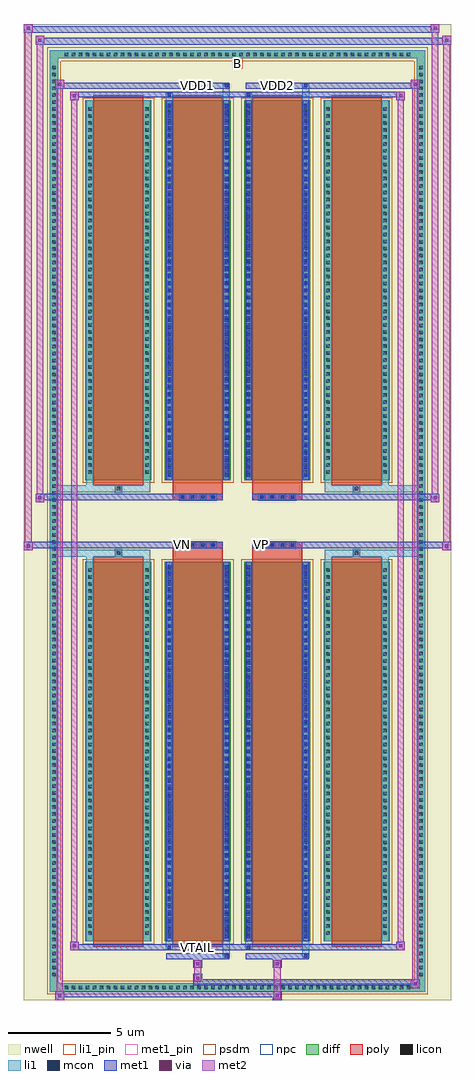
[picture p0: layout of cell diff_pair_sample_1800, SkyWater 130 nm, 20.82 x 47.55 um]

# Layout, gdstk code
import gdstk
lib = gdstk.Library(unit=1e-6, precision=5e-09)
def R(c, l, rs):  # rectangles x0, y0, x1, y1
    for r in rs: c.add(gdstk.rectangle(r[:2], r[2:], *l))
def A(c, l, x, y, w, h, nx, ny, dx, dy):  # array of equal rectangles
    R(c, l, [(x+i*dx, y+j*dy, x+i*dx+w, y+j*dy+h) for i in range(nx) for j in range(ny)])
def P(c, l, *ps):  # polygons
    for p in ps: c.add(gdstk.Polygon(p, *l))
nwell = (64, 20)
diff = (65, 20)
poly = (66, 20)
licon = (66, 44)
li1_pin = (67, 16)
li1 = (67, 20)
mcon = (67, 44)
met1_pin = (68, 16)
met1 = (68, 20)
via = (68, 44)
met2 = (69, 20)
psdm = (94, 20)
npc = (95, 20)

diff_pair_sample_1800 = lib.new_cell('diff_pair_sample_1800')
R(diff_pair_sample_1800, nwell, [(-10.41,-23.34,10.41,24.21), (-7.73,-21.53,-0.01,-0.805), (0.01,-21.53,7.73,-0.805), (-7.73,0.805,-0.01,21.53), (0.01,0.805,7.73,21.53)])
A(diff_pair_sample_1800, diff, -8.535, -22.94, 0.41, 0.41, 50, 2, 0.34, 45.47)
A(diff_pair_sample_1800, diff, -9.14, -22.305, 0.41, 0.41, 1, 131, 0, 0.34)
A(diff_pair_sample_1800, diff, 8.73, -22.305, 0.41, 0.41, 1, 131, 0, 0.34)
A(diff_pair_sample_1800, diff, -7.42, -20.485, 3.23, 18.5, 4, 2, 3.87, 22.47)
R(diff_pair_sample_1800, diff, [(-8.535,-22.94,8.535,-22.53), (-9.14,-22.305,-8.73,22.305), (8.73,-22.305,9.14,22.305), (-8.535,22.53,8.535,22.94)])
P(diff_pair_sample_1800, diff, [(9.14,22.94),(-9.14,22.94),(-9.14,-22.53),(-8.73,-22.53),(-8.73,22.53),(8.73,22.53),(8.73,-22.53),(-8.73,-22.53),(-9.14,-22.53),(-9.14,-22.94),(9.14,-22.94)])
A(diff_pair_sample_1800, poly, -7.03, -20.735, 2.45, 19, 4, 2, 3.87, 22.47)
A(diff_pair_sample_1800, poly, -2.85, -1.335, 0.33, 0.33, 4, 2, 0.5, 2.34)
A(diff_pair_sample_1800, poly, 1.02, -1.335, 0.33, 0.33, 4, 2, 0.5, 2.34)
R(diff_pair_sample_1800, poly, [(-5.97,-1.735,-5.64,-1.405), (-5.97,-1.735,-5.64,-1.405), (-3.16,-1.735,-0.71,-1.335), (0.71,-1.735,3.16,-1.335), (5.64,-1.735,5.97,-1.405), (5.64,-1.735,5.97,-1.405), (-3.16,-1.335,-0.71,-1.005), (0.71,-1.335,3.16,-1.005), (-3.16,1.005,-0.71,1.335), (0.71,1.005,3.16,1.335), (-3.16,1.335,-0.71,1.735), (0.71,1.335,3.16,1.735), (-5.97,1.405,-5.64,1.735), (-5.97,1.405,-5.64,1.735), (5.64,1.405,5.97,1.735), (5.64,1.405,5.97,1.735)])
A(diff_pair_sample_1800, licon, -8.415, -22.82, 0.17, 0.17, 50, 2, 0.34, 45.47)
A(diff_pair_sample_1800, licon, -9.02, -22.185, 0.17, 0.17, 1, 131, 0, 0.34)
A(diff_pair_sample_1800, licon, 8.85, -22.185, 0.17, 0.17, 1, 131, 0, 0.34)
A(diff_pair_sample_1800, licon, -7.28, -20.16, 0.17, 0.17, 1, 53, 0, 0.34)
A(diff_pair_sample_1800, licon, -4.5, -20.16, 0.17, 0.17, 1, 53, 0, 0.34)
A(diff_pair_sample_1800, licon, -3.41, -20.16, 0.17, 0.17, 1, 53, 0, 0.34)
A(diff_pair_sample_1800, licon, -0.63, -20.16, 0.17, 0.17, 1, 53, 0, 0.34)
A(diff_pair_sample_1800, licon, 0.46, -20.16, 0.17, 0.17, 1, 53, 0, 0.34)
A(diff_pair_sample_1800, licon, 3.24, -20.16, 0.17, 0.17, 1, 53, 0, 0.34)
A(diff_pair_sample_1800, licon, 4.33, -20.16, 0.17, 0.17, 1, 53, 0, 0.34)
A(diff_pair_sample_1800, licon, 7.11, -20.16, 0.17, 0.17, 1, 53, 0, 0.34)
A(diff_pair_sample_1800, licon, -2.77, -1.255, 0.17, 0.17, 4, 2, 0.5, 2.34)
A(diff_pair_sample_1800, licon, 1.1, -1.255, 0.17, 0.17, 4, 2, 0.5, 2.34)
A(diff_pair_sample_1800, licon, -7.28, 2.31, 0.17, 0.17, 1, 53, 0, 0.34)
A(diff_pair_sample_1800, licon, -4.5, 2.31, 0.17, 0.17, 1, 53, 0, 0.34)
A(diff_pair_sample_1800, licon, -3.41, 2.31, 0.17, 0.17, 1, 53, 0, 0.34)
A(diff_pair_sample_1800, licon, -0.63, 2.31, 0.17, 0.17, 1, 53, 0, 0.34)
A(diff_pair_sample_1800, licon, 0.46, 2.31, 0.17, 0.17, 1, 53, 0, 0.34)
A(diff_pair_sample_1800, licon, 3.24, 2.31, 0.17, 0.17, 1, 53, 0, 0.34)
A(diff_pair_sample_1800, licon, 4.33, 2.31, 0.17, 0.17, 1, 53, 0, 0.34)
A(diff_pair_sample_1800, licon, 7.11, 2.31, 0.17, 0.17, 1, 53, 0, 0.34)
R(diff_pair_sample_1800, licon, [(-5.89,-1.655,-5.72,-1.485), (5.72,-1.655,5.89,-1.485), (-5.89,1.485,-5.72,1.655), (5.72,1.485,5.89,1.655)])
R(diff_pair_sample_1800, li1_pin, [(-0.25,22.03,0.25,22.53)])
A(diff_pair_sample_1800, li1, -8.495, -22.9, 0.33, 0.33, 50, 2, 0.34, 45.47)
A(diff_pair_sample_1800, li1, -9.1, -22.265, 0.33, 0.33, 1, 131, 0, 0.34)
A(diff_pair_sample_1800, li1, 8.77, -22.265, 0.33, 0.33, 1, 131, 0, 0.34)
A(diff_pair_sample_1800, li1, -3.41, -20.32, 0.17, 0.17, 1, 51, 0, 0.36)
A(diff_pair_sample_1800, li1, -0.63, -20.32, 0.17, 0.17, 1, 51, 0, 0.36)
A(diff_pair_sample_1800, li1, 0.46, -20.32, 0.17, 0.17, 1, 51, 0, 0.36)
A(diff_pair_sample_1800, li1, 3.24, -20.32, 0.17, 0.17, 1, 51, 0, 0.36)
A(diff_pair_sample_1800, li1, -7.36, -20.24, 0.33, 0.33, 1, 53, 0, 0.34)
A(diff_pair_sample_1800, li1, -4.58, -20.24, 0.33, 0.33, 1, 53, 0, 0.34)
A(diff_pair_sample_1800, li1, -3.49, -20.24, 0.33, 0.33, 1, 53, 0, 0.34)
A(diff_pair_sample_1800, li1, -0.71, -20.24, 0.33, 0.33, 1, 53, 0, 0.34)
A(diff_pair_sample_1800, li1, 0.38, -20.24, 0.33, 0.33, 1, 53, 0, 0.34)
A(diff_pair_sample_1800, li1, 3.16, -20.24, 0.33, 0.33, 1, 53, 0, 0.34)
A(diff_pair_sample_1800, li1, 4.25, -20.24, 0.33, 0.33, 1, 53, 0, 0.34)
A(diff_pair_sample_1800, li1, 7.03, -20.24, 0.33, 0.33, 1, 53, 0, 0.34)
A(diff_pair_sample_1800, li1, -2.85, -1.335, 0.33, 0.33, 4, 2, 0.5, 2.34)
A(diff_pair_sample_1800, li1, 1.02, -1.335, 0.33, 0.33, 4, 2, 0.5, 2.34)
A(diff_pair_sample_1800, li1, -3.41, 2.15, 0.17, 0.17, 1, 51, 0, 0.36)
A(diff_pair_sample_1800, li1, -0.63, 2.15, 0.17, 0.17, 1, 51, 0, 0.36)
A(diff_pair_sample_1800, li1, 0.46, 2.15, 0.17, 0.17, 1, 51, 0, 0.36)
A(diff_pair_sample_1800, li1, 3.24, 2.15, 0.17, 0.17, 1, 51, 0, 0.36)
A(diff_pair_sample_1800, li1, -7.36, 2.23, 0.33, 0.33, 1, 53, 0, 0.34)
A(diff_pair_sample_1800, li1, -4.58, 2.23, 0.33, 0.33, 1, 53, 0, 0.34)
A(diff_pair_sample_1800, li1, -3.49, 2.23, 0.33, 0.33, 1, 53, 0, 0.34)
A(diff_pair_sample_1800, li1, -0.71, 2.23, 0.33, 0.33, 1, 53, 0, 0.34)
A(diff_pair_sample_1800, li1, 0.38, 2.23, 0.33, 0.33, 1, 53, 0, 0.34)
A(diff_pair_sample_1800, li1, 3.16, 2.23, 0.33, 0.33, 1, 53, 0, 0.34)
A(diff_pair_sample_1800, li1, 4.25, 2.23, 0.33, 0.33, 1, 53, 0, 0.34)
A(diff_pair_sample_1800, li1, 7.03, 2.23, 0.33, 0.33, 1, 53, 0, 0.34)
R(diff_pair_sample_1800, li1, [(-9.14,-22.94,-8.73,-22.53), (-9.14,-22.94,-8.73,-22.53), (-8.73,-22.94,8.73,-22.53), (8.73,-22.94,9.14,-22.53), (8.73,-22.94,9.14,-22.53), (-9.14,-22.53,-8.73,22.53), (8.73,-22.53,9.14,22.53), (-0.71,-21.29,-0.38,-20.485), (-0.63,-21.29,-0.46,-21.12), (3.16,-21.29,3.49,-20.485), (3.24,-21.29,3.41,-21.12), (-3.49,-20.86,-3.16,-20.485), (-3.41,-20.86,-3.24,-20.69), (0.38,-20.86,0.71,-20.485), (0.46,-20.86,0.63,-20.69), (-7.36,-20.485,-7.03,-1.985), (-4.58,-20.485,-4.25,-1.985), (-3.49,-20.485,-3.16,-1.985), (-0.71,-20.485,-0.38,-1.985), (0.38,-20.485,0.71,-1.985), (3.16,-20.485,3.49,-1.985), (4.25,-20.485,4.58,-1.985), (7.03,-20.485,7.36,-1.985), (-3.41,-20.32,-3.24,-2.15), (-0.63,-20.32,-0.46,-2.15), (0.46,-20.32,0.63,-2.15), (3.24,-20.32,3.41,-2.15), (-7.36,-1.985,-7.03,-1.405), (-4.58,-1.985,-4.25,-1.405), (4.25,-1.985,4.58,-1.405), (7.03,-1.985,7.36,-1.405), (-9.14,-1.735,-5.97,-1.405), (-7.36,-1.735,-5.97,-1.405), (-5.97,-1.735,-5.64,-1.405), (-5.64,-1.735,-4.25,-1.405), (4.25,-1.735,5.64,-1.405), (5.64,-1.735,5.97,-1.405), (5.64,-1.735,9.14,-1.405), (5.97,-1.735,7.36,-1.405), (-9.14,1.405,-5.97,1.735), (-7.36,1.405,-5.97,1.735), (-7.36,1.405,-7.03,1.985), (-5.97,1.405,-5.64,1.735), (-5.64,1.405,-4.25,1.735), (-4.58,1.405,-4.25,1.985), (4.25,1.405,5.64,1.735), (4.25,1.405,4.58,1.985), (5.64,1.405,5.97,1.735), (5.64,1.405,9.14,1.735), (5.97,1.405,7.36,1.735), (7.03,1.405,7.36,1.985), (-7.36,1.985,-7.03,20.485), (-4.58,1.985,-4.25,20.485), (-3.49,1.985,-3.16,20.485), (-0.71,1.985,-0.38,20.485), (0.38,1.985,0.71,20.485), (3.16,1.985,3.49,20.485), (4.25,1.985,4.58,20.485), (7.03,1.985,7.36,20.485), (-3.41,2.15,-3.24,20.32), (-0.63,2.15,-0.46,20.32), (0.46,2.15,0.63,20.32), (3.24,2.15,3.41,20.32), (-3.49,20.485,-3.16,20.86), (-0.71,20.485,-0.38,21.29), (0.38,20.485,0.71,20.86), (3.16,20.485,3.49,21.29), (-3.41,20.69,-3.24,20.86), (0.46,20.69,0.63,20.86), (-0.63,21.12,-0.46,21.29), (3.24,21.12,3.41,21.29), (-9.14,22.53,-8.73,22.94), (-9.14,22.53,-8.73,22.94), (-8.73,22.53,8.73,22.94), (8.73,22.53,9.14,22.94), (8.73,22.53,9.14,22.94)])
A(diff_pair_sample_1800, mcon, -3.41, -20.32, 0.17, 0.17, 1, 51, 0, 0.36)
A(diff_pair_sample_1800, mcon, -0.63, -20.32, 0.17, 0.17, 1, 51, 0, 0.36)
A(diff_pair_sample_1800, mcon, 0.46, -20.32, 0.17, 0.17, 1, 51, 0, 0.36)
A(diff_pair_sample_1800, mcon, 3.24, -20.32, 0.17, 0.17, 1, 51, 0, 0.36)
A(diff_pair_sample_1800, mcon, -2.77, -1.255, 0.17, 0.17, 4, 2, 0.5, 2.34)
A(diff_pair_sample_1800, mcon, 1.1, -1.255, 0.17, 0.17, 4, 2, 0.5, 2.34)
A(diff_pair_sample_1800, mcon, -3.41, 2.15, 0.17, 0.17, 1, 51, 0, 0.36)
A(diff_pair_sample_1800, mcon, -0.63, 2.15, 0.17, 0.17, 1, 51, 0, 0.36)
A(diff_pair_sample_1800, mcon, 0.46, 2.15, 0.17, 0.17, 1, 51, 0, 0.36)
A(diff_pair_sample_1800, mcon, 3.24, 2.15, 0.17, 0.17, 1, 51, 0, 0.36)
R(diff_pair_sample_1800, mcon, [(-0.63,-21.29,-0.46,-21.12), (3.24,-21.29,3.41,-21.12), (-3.41,-20.86,-3.24,-20.69), (0.46,-20.86,0.63,-20.69), (-3.41,20.69,-3.24,20.86), (0.46,20.69,0.63,20.86), (-0.63,21.12,-0.46,21.29), (3.24,21.12,3.41,21.29)])
R(diff_pair_sample_1800, met1_pin, [(-2.07,-20.9,-1.8,-20.63), (-2.82,-1.295,-2.55,-1.025), (1.05,-1.295,1.32,-1.025), (-2.07,21.08,-1.8,21.35), (1.8,21.08,2.07,21.35)])
A(diff_pair_sample_1800, met1, -3.47, -20.38, 0.29, 0.29, 1, 51, 0, 0.36)
A(diff_pair_sample_1800, met1, -0.69, -20.38, 0.29, 0.29, 1, 51, 0, 0.36)
A(diff_pair_sample_1800, met1, 0.4, -20.38, 0.29, 0.29, 1, 51, 0, 0.36)
A(diff_pair_sample_1800, met1, 3.18, -20.38, 0.29, 0.29, 1, 51, 0, 0.36)
A(diff_pair_sample_1800, met1, -2.83, -1.315, 0.29, 0.29, 4, 2, 0.5, 2.34)
A(diff_pair_sample_1800, met1, 1.04, -1.315, 0.29, 0.29, 4, 2, 0.5, 2.34)
A(diff_pair_sample_1800, met1, -3.47, 2.09, 0.29, 0.29, 1, 51, 0, 0.36)
A(diff_pair_sample_1800, met1, -0.69, 2.09, 0.29, 0.29, 1, 51, 0, 0.36)
A(diff_pair_sample_1800, met1, 0.4, 2.09, 0.29, 0.29, 1, 51, 0, 0.36)
A(diff_pair_sample_1800, met1, 3.18, 2.09, 0.29, 0.29, 1, 51, 0, 0.36)
R(diff_pair_sample_1800, met1, [(-8.87,-23.34,-8.44,-22.91), (1.72,-23.34,2.15,-22.91), (-8.87,-23.2,2.15,-22.91), (8.44,-22.77,8.87,-22.34), (-2.15,-22.63,8.87,-22.34), (-2.15,-22.49,-1.72,-22.06), (-2.15,-21.78,-1.72,-21.35), (1.72,-21.78,2.15,-21.35), (-3.47,-21.35,-0.4,-21.06), (-0.69,-21.35,-0.4,-21.06), (0.4,-21.35,3.47,-21.06), (3.18,-21.35,3.47,-21.06), (-8.16,-20.92,-7.73,-20.49), (-8.16,-20.92,-3.47,-20.63), (-3.47,-20.92,-3.18,-20.63), (-3.47,-20.92,-0.4,-20.63), (-0.4,-20.92,0.4,-20.63), (0.4,-20.92,0.69,-20.63), (0.4,-20.92,3.47,-20.63), (3.47,-20.92,8.16,-20.63), (7.73,-20.92,8.16,-20.49), (-3.47,-20.485,-3.18,-1.985), (-0.69,-20.485,-0.4,-1.985), (0.4,-20.485,0.69,-1.985), (3.18,-20.485,3.47,-1.985), (-10.41,-1.435,-9.98,-1.005), (9.98,-1.435,10.41,-1.005), (-10.41,-1.335,-0.71,-1.005), (-3.16,-1.335,-0.71,-1.005), (0.71,-1.335,3.16,-1.005), (0.71,-1.335,10.41,-1.005), (-9.84,0.905,-9.41,1.335), (9.41,0.905,9.84,1.335), (-9.84,1.005,-3.16,1.335), (-3.16,1.005,-0.71,1.335), (0.71,1.005,3.16,1.335), (3.16,1.005,9.84,1.335), (-3.47,1.985,-3.18,20.485), (-0.69,1.985,-0.4,20.485), (0.4,1.985,0.69,20.485), (3.18,1.985,3.47,20.485), (-8.16,20.49,-7.73,20.92), (7.73,20.49,8.16,20.92), (-8.16,20.63,-3.47,20.92), (-3.47,20.63,-3.18,20.92), (-3.47,20.63,-0.4,20.92), (-0.4,20.63,0.4,20.92), (0.4,20.63,0.69,20.92), (0.4,20.63,3.47,20.92), (3.47,20.63,8.16,20.92), (-8.87,21.06,-8.44,21.49), (-8.87,21.06,-3.47,21.35), (-3.47,21.06,-0.4,21.35), (-0.69,21.06,-0.4,21.35), (0.4,21.06,3.47,21.35), (3.18,21.06,3.47,21.35), (3.47,21.06,8.87,21.35), (8.44,21.06,8.87,21.49), (-9.84,23.21,-9.41,23.64), (-9.84,23.21,-7.73,23.54), (-7.73,23.21,7.73,23.54), (7.73,23.21,10.41,23.54), (9.98,23.21,10.41,23.64), (-10.41,23.78,-9.98,24.21), (-10.41,23.78,-7.73,24.11), (-7.73,23.78,7.73,24.11), (7.73,23.78,9.84,24.11), (9.41,23.78,9.84,24.21)])
R(diff_pair_sample_1800, via, [(-8.73,-23.2,-8.58,-23.05), (1.86,-23.2,2.01,-23.05), (8.58,-22.63,8.73,-22.48), (-2.01,-22.35,-1.86,-22.2), (-2.01,-21.64,-1.86,-21.49), (1.86,-21.64,2.01,-21.49), (-8.02,-20.78,-7.87,-20.63), (7.87,-20.78,8.02,-20.63), (-10.27,-1.295,-10.12,-1.145), (10.12,-1.295,10.27,-1.145), (-9.7,1.045,-9.55,1.195), (9.55,1.045,9.7,1.195), (-8.02,20.63,-7.87,20.78), (7.87,20.63,8.02,20.78), (-8.73,21.2,-8.58,21.35), (8.58,21.2,8.73,21.35), (-9.7,23.35,-9.55,23.5), (10.12,23.35,10.27,23.5), (-10.27,23.92,-10.12,24.07), (9.55,23.92,9.7,24.07)])
R(diff_pair_sample_1800, met2, [(-8.87,-23.34,-8.44,-22.91), (-8.8,-23.34,-8.51,21.49), (-8.51,-23.34,-8.44,-22.91), (-8.82,-23.29,-8.49,-22.96), (1.77,-23.29,2.1,-22.96), (1.77,-22.96,2.1,-21.73), (8.44,-22.77,8.87,-22.34), (8.51,-22.77,8.8,21.49), (8.8,-22.77,8.87,-22.34), (8.49,-22.72,8.82,-22.39), (-2.1,-22.44,-1.77,-22.11), (-2.1,-22.11,-1.77,-21.73), (-2.1,-21.73,-1.77,-21.4), (1.77,-21.73,2.1,-21.4), (-8.16,-20.92,-7.73,-20.49), (-8.09,-20.92,-7.8,20.92), (-7.8,-20.92,-7.73,-20.49), (7.73,-20.92,8.16,-20.49), (7.8,-20.92,8.09,20.92), (8.09,-20.92,8.16,-20.49), (-8.11,-20.87,-7.78,-20.54), (7.78,-20.87,8.11,-20.54), (-10.41,-1.435,-9.98,-1.005), (-10.36,-1.435,-10.03,24.21), (-10.03,-1.435,-9.98,-1.005), (9.98,-1.435,10.41,-1.005), (10.03,-1.435,10.36,23.64), (10.36,-1.435,10.41,-1.005), (-10.36,-1.385,-10.03,-1.055), (10.03,-1.385,10.36,-1.055), (-9.84,0.905,-9.41,1.335), (-9.79,0.905,-9.46,23.64), (-9.46,0.905,-9.41,1.335), (9.41,0.905,9.84,1.335), (9.46,0.905,9.79,24.21), (9.79,0.905,9.84,1.335), (-9.79,0.955,-9.46,1.285), (9.46,0.955,9.79,1.285), (-8.16,20.49,-7.73,20.92), (-7.8,20.49,-7.73,20.92), (7.73,20.49,8.16,20.92), (8.09,20.49,8.16,20.92), (-8.11,20.54,-7.78,20.87), (7.78,20.54,8.11,20.87), (-8.87,21.06,-8.44,21.49), (-8.51,21.06,-8.44,21.49), (8.44,21.06,8.87,21.49), (8.8,21.06,8.87,21.49), (-8.82,21.11,-8.49,21.44), (8.49,21.11,8.82,21.44), (-9.84,23.21,-9.41,23.64), (-9.46,23.21,-9.41,23.64), (9.98,23.21,10.41,23.64), (10.36,23.21,10.41,23.64), (-9.79,23.26,-9.46,23.59), (10.03,23.26,10.36,23.59), (-10.41,23.78,-9.98,24.21), (-10.03,23.78,-9.98,24.21), (9.41,23.78,9.84,24.21), (9.79,23.78,9.84,24.21), (-10.36,23.83,-10.03,24.16), (9.46,23.83,9.79,24.16)])
A(diff_pair_sample_1800, psdm, -7.55, -20.615, 3.49, 18.76, 4, 2, 3.87, 22.47)
P(diff_pair_sample_1800, psdm, [(9.27,23.07),(-9.27,23.07),(-9.27,-22.4),(-8.6,-22.4),(-8.6,22.4),(8.6,22.4),(8.6,-22.4),(-8.6,-22.4),(-9.27,-22.4),(-9.27,-23.07),(9.27,-23.07)])
A(diff_pair_sample_1800, npc, -2.87, -1.355, 0.37, 0.37, 4, 2, 0.5, 2.34)
A(diff_pair_sample_1800, npc, 1, -1.355, 0.37, 0.37, 4, 2, 0.5, 2.34)
R(diff_pair_sample_1800, npc, [(-5.99,-1.755,-5.62,-1.385), (5.62,-1.755,5.99,-1.385), (-2.87,-1.355,-2,-0.985), (-2.87,-1.355,-2,-0.985), (-2.37,-1.355,-1.5,-0.985), (-2.37,-1.355,-1.5,-0.985), (-1.87,-1.355,-1,-0.985), (-1.87,-1.355,-1,-0.985), (1,-1.355,1.87,-0.985), (1,-1.355,1.87,-0.985), (1.5,-1.355,2.37,-0.985), (1.5,-1.355,2.37,-0.985), (2,-1.355,2.87,-0.985), (2,-1.355,2.87,-0.985), (-2.87,0.985,-2,1.355), (-2.87,0.985,-2,1.355), (-2.37,0.985,-1.5,1.355), (-2.37,0.985,-1.5,1.355), (-1.87,0.985,-1,1.355), (-1.87,0.985,-1,1.355), (1,0.985,1.87,1.355), (1,0.985,1.87,1.355), (1.5,0.985,2.37,1.355), (1.5,0.985,2.37,1.355), (2,0.985,2.87,1.355), (2,0.985,2.87,1.355), (-5.99,1.385,-5.62,1.755), (5.62,1.385,5.99,1.755)])
diff_pair_sample_1800.add(gdstk.Label('VTAIL', (-1.935,-20.765), layer=68, texttype=5))
diff_pair_sample_1800.add(gdstk.Label('VN', (-2.685,-1.16), layer=68, texttype=5))
diff_pair_sample_1800.add(gdstk.Label('VP', (1.185,-1.16), layer=68, texttype=5))
diff_pair_sample_1800.add(gdstk.Label('B', (0,22.28), layer=67, texttype=5))
diff_pair_sample_1800.add(gdstk.Label('VDD2', (1.935,21.215), layer=68, texttype=5))
diff_pair_sample_1800.add(gdstk.Label('VDD1', (-1.935,21.215), layer=68, texttype=5))

lib.write_gds('diff_pair_sample_1800.gds')
